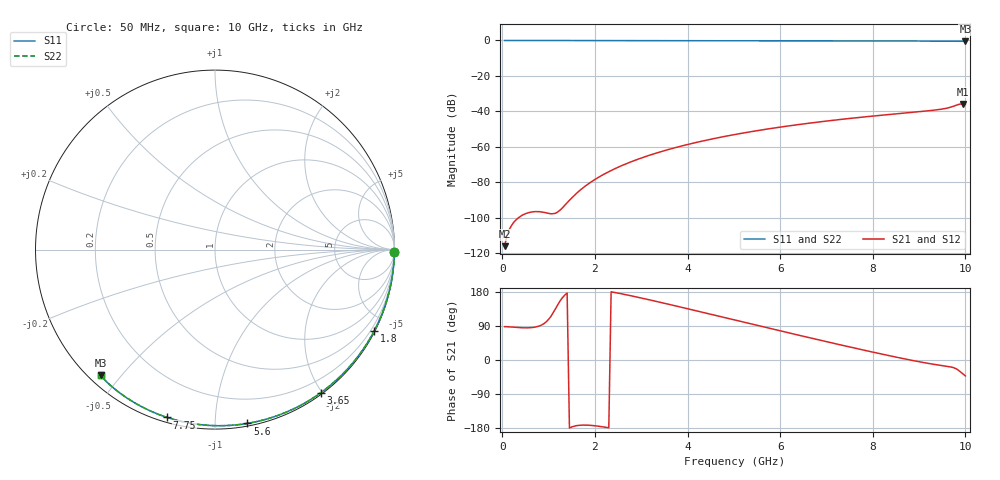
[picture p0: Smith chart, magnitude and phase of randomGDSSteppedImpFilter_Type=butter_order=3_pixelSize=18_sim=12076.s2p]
! freq	dB(S11)	phase(S11)	dB(S12)	phase(S12)
!  dB(S21)	phase(S21)	dB(S22)	phase(S22)
!S-par simulation data
#  GHz  S  DB  R 50
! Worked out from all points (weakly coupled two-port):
!   200 points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, 50 MHz to 10 GHz, reference 50 ohm
!   highest |S21| = -35.86 dB at 9.95 GHz (marker M1); lowest = -116.2 dB at 50 MHz (marker M2)
!   lowest |S11| = -0.5 dB at 10 GHz (marker M3), VSWR 35.01, Z = 1.71 - j22.1 ohm
!   |S11| at or under -10 dB: nowhere
!   |S22| runs from -0.5 to 0.0 dB; largest |S21 - S12| = 0
!   S11 on the Smith chart (normalised r, x): 50 MHz: open; 1.8 GHz: 0.04, -4.17; 3.65 GHz: 0.02, -1.99; 5.6 GHz: 0.02, -1.20; 7.75 GHz: 0.02, -0.75; 10 GHz: 0.03, -0.44
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0.05  -0.00 -0.8  -116.19 87.9  -116.19 87.9  -0.00 -0.8
0.9  -0.02 -13.6  -97.09 96.0  -97.09 96.0  -0.02 -13.6
1.75  -0.03 -26.2  -83.09 -171.8  -83.09 -171.8  -0.03 -26.2
1.8  -0.03 -27.0  -82.09 -171.8  -82.09 -171.8  -0.03 -27.0
1.9  -0.04 -28.5  -80.23 -172.4  -80.23 -172.4  -0.04 -28.5
2.25  -0.04 -33.6  -74.78 -177.9  -74.78 -177.9  -0.04 -33.6
2.65  -0.05 -39.3  -69.91 172.8  -69.91 172.8  -0.05 -39.3
3  -0.06 -44.3  -66.41 163.6  -66.41 163.6  -0.06 -44.3
3.4  -0.07 -50.0  -63.01 152.5  -63.01 152.5  -0.07 -50.0
3.65  -0.07 -53.5  -61.14 145.4  -61.14 145.4  -0.07 -53.5
4.3  -0.09 -62.4  -56.94 126.6  -56.94 126.6  -0.09 -62.4
5.05  -0.11 -72.3  -52.99 104.7  -52.99 104.7  -0.11 -72.3
5.6  -0.13 -79.5  -50.54 88.6  -50.54 88.6  -0.13 -79.5
6.15  -0.15 -86.4  -48.38 72.7  -48.38 72.7  -0.15 -86.4
6.7  -0.18 -93.2  -46.47 56.9  -46.47 56.9  -0.18 -93.2
7.75  -0.24 -105.9  -43.36 27.6  -43.36 27.6  -0.24 -105.9
8.35  -0.29 -112.9  -41.83 11.5  -41.83 11.5  -0.29 -112.9
9.45  -0.38 -125.7  -38.94 -13.9  -38.94 -13.9  -0.38 -125.7
9.65  -0.41 -128.1  -37.92 -17.5  -37.92 -17.5  -0.41 -128.1
9.85  -0.44 -130.5  -36.16 -27.0  -36.16 -27.0  -0.44 -130.5
9.95  -0.47 -131.7  -35.86 -37.5  -35.86 -37.5  -0.47 -131.7
10  -0.50 -132.4  -36.08 -42.1  -36.08 -42.1  -0.50 -132.4
